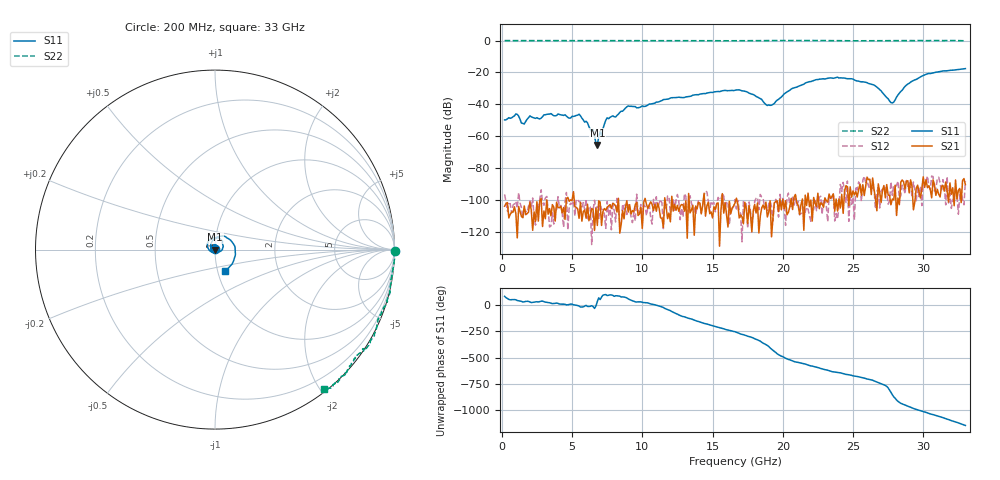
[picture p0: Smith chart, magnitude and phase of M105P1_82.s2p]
# GHZ S RI R 50
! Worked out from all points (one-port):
!   329 points, 200 MHz to 33 GHz, reference 50 ohm
!   lowest |S11| = -65.4 dB at 6.8 GHz (marker M1), VSWR 1.00, Z = 50 + j0.029 ohm
!   |S11| at or under -10 dB: start of sweep to end of sweep
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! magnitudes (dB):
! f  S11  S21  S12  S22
! 200 MHz  -49.8  -103.9  -96.5  0.0
! 1 GHz  -46.0  -108.4  -100.9  0.0
! 1.6 GHz  -52.3  -103.7  -105.5  0.0
! 2 GHz  -47.2  -101.4  -100.5  0.0
! 3.5 GHz  -45.8  -110.0  -116.3  0.0
! 5.7 GHz  -48.6  -113.3  -104.5  0.0
! 6.5 GHz  -55.9  -106.0  -106.2  0.0
! 6.8 GHz  -65.4  -116.0  -104.2  0.0
! 7 GHz  -57.0  -101.3  -102.6  0.0
! 7.1 GHz  -59.6  -115.9  -106.0  0.0
! 7.5 GHz  -48.4  -104.6  -100.9  -0.1
! 9 GHz  -41.0  -107.5  -102.0  0.0
! 11.2 GHz  -38.4  -105.2  -101.9  0.0
! 16.6 GHz  -31.2  -101.9  -99.8  -0.1
! 19.1 GHz  -40.6  -100.5  -100.7  0.0
! 22.1 GHz  -25.4  -113.2  -106.2  0.1
! 23.9 GHz  -22.9  -106.9  -112.1  0.0
! 25.9 GHz  -26.1  -91.4  -89.0  -0.1
! 27.6 GHz  -37.9  -97.1  -100.6  -0.1
! 27.9 GHz  -38.6  -100.0  -90.9  -0.1
! 30.2 GHz  -21.1  -87.4  -87.9  -0.1
! 33 GHz  -17.6  -90.4  -88.3  -0.1
